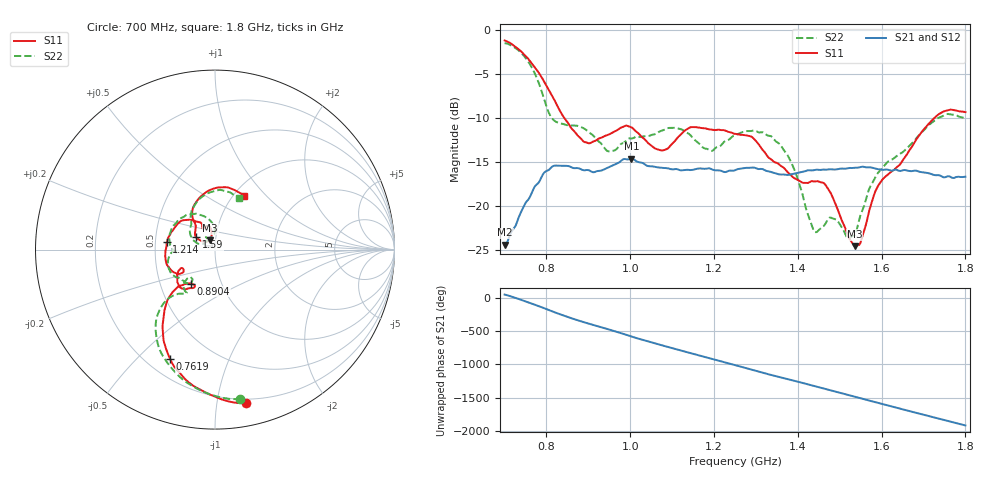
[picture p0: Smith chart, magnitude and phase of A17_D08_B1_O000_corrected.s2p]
! Created with skrf 1.9.0 (http://scikit-rf.org).
# Hz S RI R 50.0
!freq ReS11 ImS11 ReS21 ImS21 ReS12 ImS12 ReS22 ImS22
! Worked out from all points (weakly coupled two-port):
!   1601 points, 700 MHz to 1.8 GHz, reference 50 ohm
!   highest |S21| = -14.61 dB at 1.002 GHz (marker M1); lowest = -24.4 dB at 701.4 MHz (marker M2)
!   lowest |S11| = -24.6 dB at 1.536 GHz (marker M3), VSWR 1.13, Z = 47.1 + j4.97 ohm
!   |S11| at or under -10 dB: 842.8 MHz to 1.726 GHz (882.9 MHz wide, 68.7 % of centre)
!   |S22| runs from -23.7 to -1.5 dB; largest |S21 - S12| = 0.0036
!   S11 on the Smith chart (normalised r, x): 700 MHz: 0.17, -1.21; 761.9 MHz: 0.29, -0.63; 890.4 MHz: 0.72, -0.29; 1.214 GHz: 0.58, +0.05; 1.59 GHz: 0.80, +0.12; 1.8 GHz: 1.12, +0.76
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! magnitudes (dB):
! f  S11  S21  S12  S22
! 700 MHz  -1.2  -24.4  -24.2  -1.5
! 701.4 MHz  -1.2  -24.4  -24.0  -1.5
! 761.9 MHz  -3.6  -18.8  -18.7  -4.0
! 814.1 MHz  -7.5  -15.5  -15.5  -10.1
! 883.6 MHz  -12.4  -15.8  -15.7  -11.0
! 890.4 MHz  -12.7  -15.9  -15.9  -11.2
! 948.2 MHz  -11.9  -15.6  -15.6  -13.8
! 1.002 GHz  -11.0  -14.6  -14.7  -12.3
! 1.067 GHz  -13.6  -15.6  -15.6  -11.6
! 1.143 GHz  -11.0  -15.9  -15.9  -11.9
! 1.214 GHz  -11.3  -16.0  -16.0  -13.2
! 1.25 GHz  -11.8  -15.9  -15.9  -11.9
! 1.358 GHz  -15.4  -16.4  -16.4  -13.0
! 1.392 GHz  -16.8  -16.3  -16.3  -15.9
! 1.434 GHz  -17.2  -16.0  -15.9  -22.3
! 1.471 GHz  -18.0  -15.8  -15.8  -21.5
! 1.536 GHz  -24.6  -15.6  -15.7  -23.3
! 1.551 GHz  -23.9  -15.5  -15.6  -20.8
! 1.59 GHz  -17.9  -15.8  -15.8  -16.3
! 1.617 GHz  -16.3  -15.9  -15.9  -14.9
! 1.733 GHz  -9.7  -16.5  -16.5  -10.1
! 1.8 GHz  -9.3  -16.7  -16.7  -10.0
